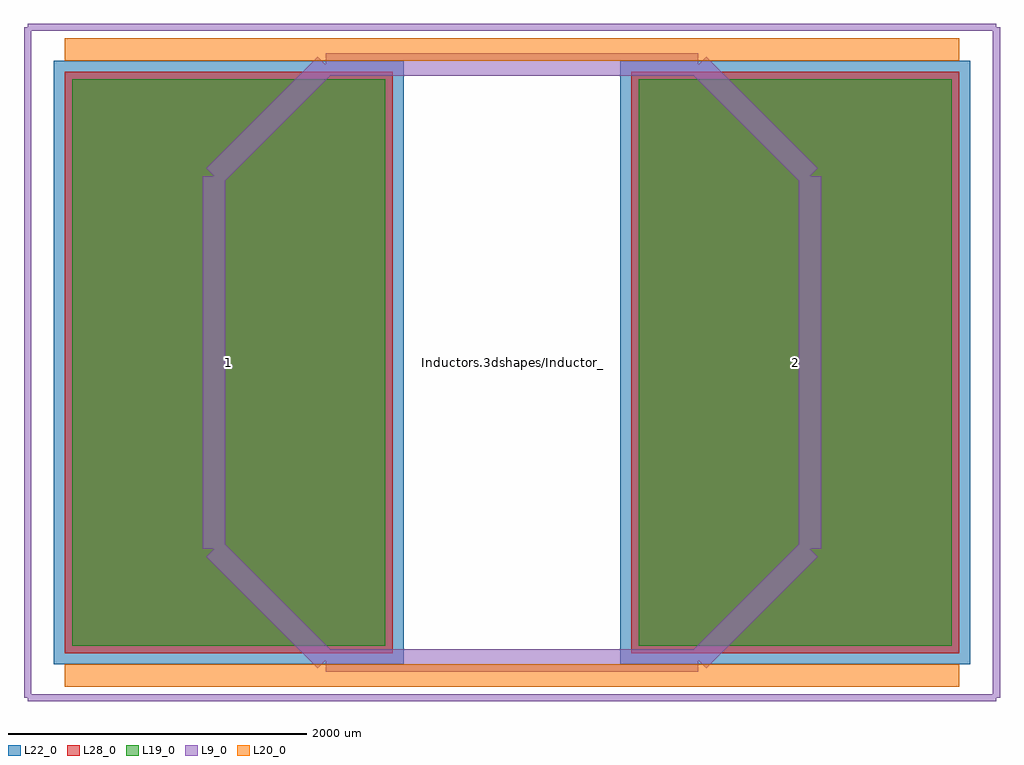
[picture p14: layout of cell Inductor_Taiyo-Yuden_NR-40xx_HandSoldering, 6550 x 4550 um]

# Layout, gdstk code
import gdstk
lib = gdstk.Library(unit=1e-6, precision=1e-09)
def R(c, l, rs):  # rectangles x0, y0, x1, y1
    for r in rs: c.add(gdstk.rectangle(r[:2], r[2:], *l))
L9_0 = (9, 0)
L19_0 = (19, 0)
L20_0 = (20, 0)
L22_0 = (22, 0)
L28_0 = (28, 0)

inductor_taiyo_yuden_nr_ = lib.new_cell('Inductor_Taiyo-Yuden_NR-40xx_HandSoldering')
R(inductor_taiyo_yuden_nr_, L19_0, [(-2950,-1900,-850,1900), (850,-1900,2950,1900)])
R(inductor_taiyo_yuden_nr_, L22_0, [(-3075,-2025,-725,2025), (725,-2025,3075,2025)])
R(inductor_taiyo_yuden_nr_, L28_0, [(-3000,-1950,-800,1950), (800,-1950,3000,1950)])
inductor_taiyo_yuden_nr_.add(gdstk.FlexPath([(3250,2250),(-3250,2250)], 50, ends="flush", simple_path=True, layer=9, datatype=0))  # L9_0
inductor_taiyo_yuden_nr_.add(gdstk.FlexPath([(3250,-2250),(3250,2250)], 50, ends="flush", simple_path=True, layer=9, datatype=0))  # L9_0
inductor_taiyo_yuden_nr_.add(gdstk.FlexPath([(-3250,-2250),(3250,-2250)], 50, ends="flush", simple_path=True, layer=9, datatype=0))  # L9_0
inductor_taiyo_yuden_nr_.add(gdstk.FlexPath([(-3250,2250),(-3250,-2250)], 50, ends="flush", simple_path=True, layer=9, datatype=0))  # L9_0
inductor_taiyo_yuden_nr_.add(gdstk.FlexPath([(-3000,-2100),(3000,-2100)], 149.998, ends="flush", simple_path=True, layer=20, datatype=0))  # L20_0
inductor_taiyo_yuden_nr_.add(gdstk.FlexPath([(-3000,2100),(3000,2100)], 149.998, ends="flush", simple_path=True, layer=20, datatype=0))  # L20_0
inductor_taiyo_yuden_nr_.add(gdstk.FlexPath([(-1250,-2000),(0,-2000)], 149.998, ends="flush", simple_path=True, layer=9, datatype=0))  # L9_0
inductor_taiyo_yuden_nr_.add(gdstk.FlexPath([(-2000,-1250),(-1250,-2000)], 149.998, ends="flush", simple_path=True, layer=9, datatype=0))  # L9_0
inductor_taiyo_yuden_nr_.add(gdstk.FlexPath([(-2000,0),(-2000,-1250)], 149.998, ends="flush", simple_path=True, layer=9, datatype=0))  # L9_0
inductor_taiyo_yuden_nr_.add(gdstk.FlexPath([(1250,-2000),(0,-2000)], 149.998, ends="flush", simple_path=True, layer=9, datatype=0))  # L9_0
inductor_taiyo_yuden_nr_.add(gdstk.FlexPath([(2000,-1250),(1250,-2000)], 149.998, ends="flush", simple_path=True, layer=9, datatype=0))  # L9_0
inductor_taiyo_yuden_nr_.add(gdstk.FlexPath([(2000,0),(2000,-1250)], 149.998, ends="flush", simple_path=True, layer=9, datatype=0))  # L9_0
inductor_taiyo_yuden_nr_.add(gdstk.FlexPath([(1250,2000),(0,2000)], 149.998, ends="flush", simple_path=True, layer=9, datatype=0))  # L9_0
inductor_taiyo_yuden_nr_.add(gdstk.FlexPath([(2000,1250),(1250,2000)], 149.998, ends="flush", simple_path=True, layer=9, datatype=0))  # L9_0
inductor_taiyo_yuden_nr_.add(gdstk.FlexPath([(2000,0),(2000,1250)], 149.998, ends="flush", simple_path=True, layer=9, datatype=0))  # L9_0
inductor_taiyo_yuden_nr_.add(gdstk.FlexPath([(-1250,2000),(0,2000)], 149.998, ends="flush", simple_path=True, layer=9, datatype=0))  # L9_0
inductor_taiyo_yuden_nr_.add(gdstk.FlexPath([(-2000,1250),(-1250,2000)], 149.998, ends="flush", simple_path=True, layer=9, datatype=0))  # L9_0
inductor_taiyo_yuden_nr_.add(gdstk.FlexPath([(-2000,0),(-2000,1250)], 149.998, ends="flush", simple_path=True, layer=9, datatype=0))  # L9_0
inductor_taiyo_yuden_nr_.add(gdstk.Label('Inductors.3dshapes/Inductor_Taiyo-Yuden_NR-40xx.wrl', (0,0), layer=12, texttype=0))
inductor_taiyo_yuden_nr_.add(gdstk.Label('2', (1900,0), layer=28, texttype=0))
inductor_taiyo_yuden_nr_.add(gdstk.Label('1', (-1900,0), layer=28, texttype=0))
inductor_taiyo_yuden_nr_.add(gdstk.Label('type', (0,-3500), layer=9, texttype=0))
inductor_taiyo_yuden_nr_.add(gdstk.Label('devicename', (0,3000), layer=9, texttype=0))

lib.write_gds('Inductor_Taiyo-Yuden_NR-40xx_HandSoldering.gds')
